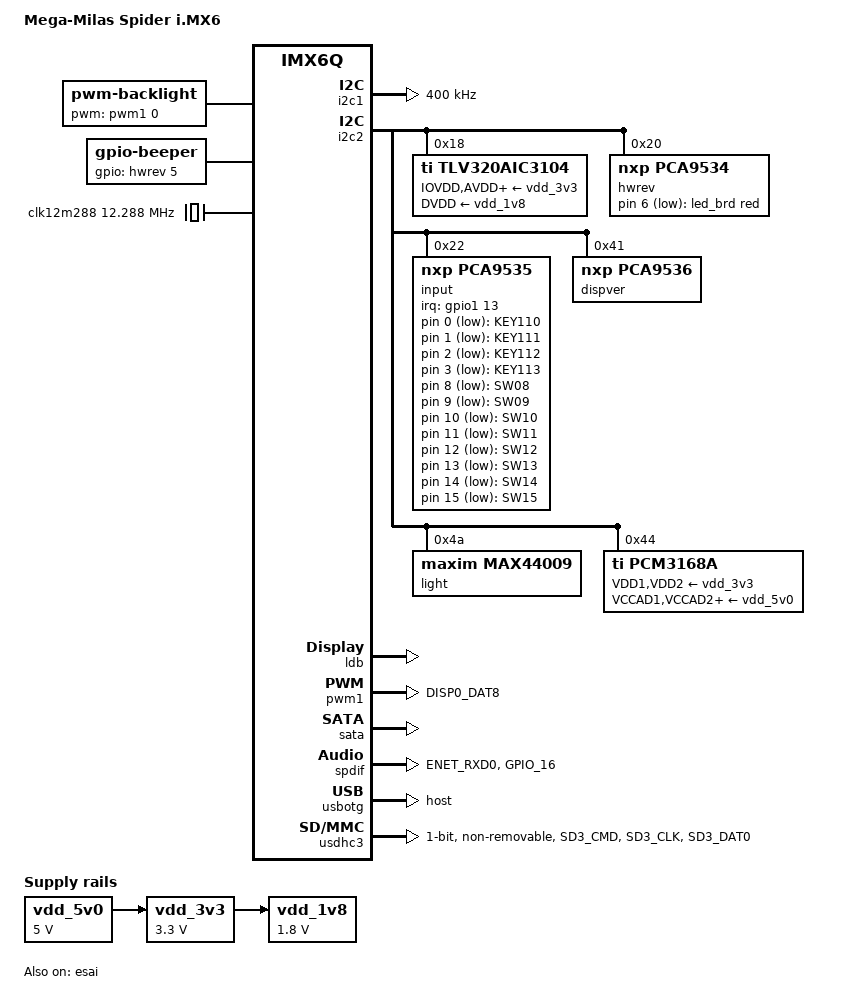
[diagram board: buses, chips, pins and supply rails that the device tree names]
#include <dt-bindings/leds/common.h>

/ {
	model = "Mega-Milas Spider i.MX6";
	compatible = "milas,spider-imx6",
		     "phytec,imx6x-pbab01", "phytec,imx6q-pfla02", "fsl,imx6q";

	chosen {
		/delete-node/ environment-nand;
		/delete-node/ environment-sd1;
		/delete-node/ environment-sd2;
		/delete-node/ environment-sd4;

		environment-spinor {
			compatible = "barebox,environment";
			device-path = &som_flash, "partname:env";
			status = "disabled";
		};

		environment-sd3 {
			compatible = "barebox,environment";
			device-path = &som_flash, "partname:env";
			status = "disabled";
		};
	};

	backlight {
		compatible = "pwm-backlight";
		pwms = <&pwm1 0 100000>;
		brightness-levels = <0 255>;
		num-interpolated-steps = <16>;
		default-brightness-level = <0>;
	};

	beeper {
		compatible = "gpio-beeper";
		gpios = <&hwrev 5 GPIO_ACTIVE_HIGH>;
	};

	gpiokeys {
		compatible = "gpio-keys";

		button@0 {
			label = "KEY110";
			linux,code = <0x0110>;
			linux,input-type = <EV_KEY>;
			gpios = <&input 0 GPIO_ACTIVE_LOW>;
		};

		button@1 {
			label = "KEY111";
			linux,code = <0x0111>;
			linux,input-type = <EV_KEY>;
			gpios = <&input 1 GPIO_ACTIVE_LOW>;
		};

		button@2 {
			label = "KEY112";
			linux,code = <0x0112>;
			linux,input-type = <EV_KEY>;
			gpios = <&input 2 GPIO_ACTIVE_LOW>;
		};

		button@3 {
			label = "KEY113";
			linux,code = <0x0113>;
			linux,input-type = <EV_KEY>;
			gpios = <&input 3 GPIO_ACTIVE_LOW>;
		};

		button@8 {
			label = "SW08";
			linux,code = <SW_VIDEOOUT_INSERT>;
			linux,input-type = <EV_SW>;
			gpios = <&input 8 GPIO_ACTIVE_LOW>;
		};

		button@9 {
			label = "SW09";
			linux,code = <SW_CAMERA_LENS_COVER>;
			linux,input-type = <EV_SW>;
			gpios = <&input 9 GPIO_ACTIVE_LOW>;
		};

		button@10 {
			label = "SW10";
			linux,code = <SW_KEYPAD_SLIDE>;
			linux,input-type = <EV_SW>;
			gpios = <&input 10 GPIO_ACTIVE_LOW>;
		};

		button@11 {
			label = "SW11";
			linux,code = <SW_FRONT_PROXIMITY>;
			linux,input-type = <EV_SW>;
			gpios = <&input 11 GPIO_ACTIVE_LOW>;
		};

		button@12 {
			label = "SW12";
			linux,code = <SW_ROTATE_LOCK>;
			linux,input-type = <EV_SW>;
			gpios = <&input 12 GPIO_ACTIVE_LOW>;
		};

		button@13 {
			label = "SW13";
			linux,code = <SW_LINEIN_INSERT>;
			linux,input-type = <EV_SW>;
			gpios = <&input 13 GPIO_ACTIVE_LOW>;
		};

		button@14 {
			label = "SW14";
			linux,code = <SW_MUTE_DEVICE>;
			linux,input-type = <EV_SW>;
			gpios = <&input 14 GPIO_ACTIVE_LOW>;
		};

		button@15 {
			label = "SW15";
			linux,code = <SW_PEN_INSERTED>;
			linux,input-type = <EV_SW>;
			gpios = <&input 15 GPIO_ACTIVE_LOW>;
		};
	};

	clk12m288: clk12m288 {
		compatible = "fixed-clock";
		clock-frequency = <12288000>;
		
		#clock-cells = <0>;
	};

	/delete-node/ oscillator;

	leds {
		led_brd {
			gpios = <&hwrev 6 GPIO_ACTIVE_LOW>;
			function = LED_FUNCTION_MTD;
			color = <LED_COLOR_ID_RED>;
			linux,default-trigger = LED_FUNCTION_MTD;
			default-state = "off";
		};
	};

	regulators {
		/delete-node/ regulator@2;
		/delete-node/ regulator@3;

		vdd_5v0: reg@5 {
			compatible = "regulator-fixed";
			reg = <5>;
			regulator-name = "vdd-5v0";
			regulator-min-microvolt = <5000000>;
			regulator-max-microvolt = <5000000>;
			regulator-always-on;
			regulator-boot-on;
		};

		vdd_3v3: reg@6 {
			compatible = "regulator-fixed";
			reg = <6>;
			regulator-name = "vdd-3v3";
			regulator-min-microvolt = <3300000>;
			regulator-max-microvolt = <3300000>;
			regulator-always-on;
			regulator-boot-on;
			vin-supply = <&vdd_5v0>;
		};

		vdd_1v8: reg@7 {
			compatible = "regulator-fixed";
			reg = <7>;
			regulator-name = "vdd-1v8";
			regulator-min-microvolt = <1800000>;
			regulator-max-microvolt = <1800000>;
			regulator-always-on;
			regulator-boot-on;
			vin-supply = <&vdd_3v3>;
		};
	};

	/delete-node/ sound;

	sound-pcm0 {
		compatible = "simple-audio-card";
		simple-audio-card,name = "SSI2AIC3104";
		simple-audio-card,format = "i2s";
		simple-audio-card,bitclock-master = <&sound0_master>;
		simple-audio-card,frame-master = <&sound0_master>;
		simple-audio-card,widgets =
			"Microphone", "Mic Jack",
			"Headphone", "Headphone Jack";
		simple-audio-card,routing =
			"Headphone Jack", "HPLOUT",
			"Headphone Jack", "HPROUT",
			"MIC2L", "Mic Jack",
			"Mic Jack", "Mic Bias";

		simple-audio-card,cpu {
			sound-dai = <&ssi2>;
		};

		sound0_master: simple-audio-card,codec {
			sound-dai = <&tlv320aic3104>;
		};
	};

//gst-launch-1.0 alsasrc ! audio/x-raw,channels=4,fmt=S24LE ! audioconvert ! opusenc ! queue ! rtpgstpay config-interval=1 ! udpsink host=239.0.0.2 port=4380

//gst-launch-1.0 alsasrc device=hw:1 ! audio/x-raw,channels=4,fmt=S24LE ! audioconvert ! opusenc ! queue ! rtpgstpay config-interval=1 ! udpsink host=239.0.0.2 port=4380

	sound-pcm1 {
		compatible = "simple-audio-card";
		simple-audio-card,name = "ESAIPCM3168A";
		simple-audio-card,format = "left_j";
		simple-audio-card,bitclock-master = <&sound1_master>;
		simple-audio-card,frame-master = <&sound1_master>;
		simple-audio-card,widgets =
			"Microphone", "Channel1in",
			"Microphone", "Channel2in",
			"Microphone", "Channel3in",
			"Microphone", "Channel4in";
		simple-audio-card,routing =
			"Channel1in", "AIN1L",
			"Channel2in", "AIN1R",
			"Channel3in", "AIN2L",
			"Channel4in", "AIN2R";

		simple-audio-card,cpu {
			sound-dai = <&esai>;
			dai-tdm-slot-num = <8>;
			dai-tdm-slot-width = <32>;
		};

		sound1_master: simple-audio-card,codec {
			sound-dai = <&pcm3168a 1>;
			dai-tdm-slot-num = <8>;
			dai-tdm-slot-width = <32>;
		};
	};

	sound-spdif {
		compatible = "fsl,imx-audio-spdif";
		model = "IMX6SPDIF";
		spdif-controller = <&spdif>;
		spdif-in;
	};
};

&asrc {
	status = "disabled";
};

&can1 {
	status = "disabled";
};

&clks {
	assigned-clocks = <&clks IMX6QDL_CLK_LDB_DI0_SEL>,
			  <&clks IMX6QDL_CLK_LDB_DI1_SEL>;
	assigned-clock-parents = <&clks IMX6QDL_CLK_PLL5_VIDEO_DIV>,
				 <&clks IMX6QDL_CLK_PLL5_VIDEO_DIV>;
};

&esai {
	pinctrl-names = "default";
	pinctrl-0 = <&pinctrl_esai>;
//	assigned-clocks = <&clks IMX6QDL_CLK_PLL4_AUDIO>,
//			  <&clks IMX6QDL_CLK_ESAI_SEL>,
//			  <&clks IMX6QDL_CLK_ESAI_EXTAL>;
//	assigned-clock-parents = <0>, <&clks IMX6QDL_CLK_PLL4_AUDIO_DIV>, <0>;
//	assigned-clock-rates = <786432000>, <0>, <24576000>;
	fsl,esai-synchronous;
	status = "okay";
};

&gpmi {
	/delete-node/ partitions;

	partitions {
		compatible = "fixed-partitions";
		#address-cells = <1>;
		#size-cells = <1>;

		partition@0 {
			label = "system";
			reg = <0 0>;
		};
	};
};

&hdmi {
	status = "disabled";
};

&i2c1 {
	clock-frequency = <400000>;
};

&i2c2 {
	/delete-node/ tlv320@18;
	/delete-node/ stmpe@41;
	/delete-node/ rtc@51;
	/delete-node/ adc@64;

	tlv320aic3104: codec@18 {
		compatible = "ti,tlv320aic3104";
		reg = <0x18>;
		clocks = <&clk12m288>;
		ai3x-micbias-vg = <1>;
		ai3x-ocmv = <1>;
		IOVDD-supply = <&vdd_3v3>;
		DVDD-supply = <&vdd_1v8>;
		AVDD-supply = <&vdd_3v3>;
		DRVDD-supply = <&vdd_3v3>;

		#sound-dai-cells = <0>;
	};

	hwrev: gpio@20 {
		compatible = "nxp,pca9534";
		reg = <0x20>;
		gpio-controller;
		
		#gpio-cells = <2>;
	};

	input: gpio@22 {
		pinctrl-names = "default";
		pinctrl-0 = <&pinctrl_input>;
		compatible = "nxp,pca9535";
		reg = <0x22>;
		gpio-controller;
		interrupt-parent = <&gpio1>;
		interrupts = <13 IRQ_TYPE_EDGE_BOTH>;
		interrupt-controller;

		#gpio-cells = <2>;
		#interrupt-cells = <2>;
	};

	dispver: gpio@41 {
		compatible = "nxp,pca9536";
		reg = <0x41>;
		gpio-controller;
		
		#gpio-cells = <2>;
	};

	light: sensor@4a {
		compatible = "maxim,max44009";
		reg = <0x4a>;
	};

	pcm3168a: codec@44 {
		compatible = "ti,pcm3168a";
		reg = <0x44>;
		clocks = <&clk12m288>;
		clock-names = "scki";
		VDD1-supply = <&vdd_3v3>;
		VDD2-supply = <&vdd_3v3>;
		VCCAD1-supply = <&vdd_5v0>;
		VCCAD2-supply = <&vdd_5v0>;
		VCCDA1-supply = <&vdd_5v0>;
		VCCDA2-supply = <&vdd_5v0>;

		#sound-dai-cells = <1>;
	};
};

&i2c3 {
	status = "disabled";
};

&ipu2 {
	status = "disabled";
};

&ldb {
	/* Fix incorrect LVDS clock due ERR009219 patches */
	assigned-clocks = <&clks IMX6QDL_CLK_PLL5_VIDEO>;
	assigned-clock-parents = <0>;
	assigned-clock-rates = <716800000>;

	status = "okay";

	lvds-channel@0 {
		fsl,data-mapping = "spwg";
		fsl,data-width = <18>;
		status = "okay";

		display-timings {
			native-mode = <&timing0>;

			timing0: G104XVN01_0 {
				clock-frequency = <50000000 65000000 81000000>;
				hactive = <1024>;
				vactive = <768>;
				hback-porch = <320>;
				hfront-porch = <24>;
				hsync-len = <136>;
				vback-porch = <38>;
				vfront-porch = <3>;
				vsync-len = <6>;
				de-active = <1>;
			};

			timing1: PH320240T {
				clock-frequency = <6400000>;
				hactive = <320>;
				vactive = <240>;
				hback-porch = <38>;
				hfront-porch = <20>;
				hsync-len = <30>;
				vback-porch = <15>;
				vfront-porch = <5>;
				vsync-len = <1 3 5>;
				hsync-active = <0>;
				vsync-active = <0>;
				de-active = <1>;
			};
		};
	};
};

&led_green {
	linux,default-trigger = LED_FUNCTION_HEARTBEAT;
	function = LED_FUNCTION_HEARTBEAT;
	color = <LED_COLOR_ID_GREEN>;
	default-state = "off";
	panic-indicator;
};

&led_red {
	linux,default-trigger = "usb-host";
	function = LED_FUNCTION_USB;
	color = <LED_COLOR_ID_RED>;
	default-state = "off";
};

&mipi_csi {
	status = "disabled";
};

&pcie {
	status = "disabled";
};

&pwm1 {
	pinctrl-names = "default";
	pinctrl-0 = <&pinctrl_pwm1>;
	status = "okay";

	#pwm-cells = <2>;
};

&sata {
	status = "okay";
};

&som_flash {
	/delete-node/ partitions;

	partitions {
		compatible = "fixed-partitions";
		#address-cells = <1>;
		#size-cells = <1>;

		partition@0 {
			label = "boot";
			reg = <0x00000 0x80000>;
		};

		partition@80000 {
			label = "env";
			reg = <0x80000 0x40000>;
		};

		partition@c0000 {
			label = "init";
			reg = <0xc0000 0>;
		};
	};
};

&spdif {
	pinctrl-names = "default";
	pinctrl-0 = <&pinctrl_spdif>;
	status = "okay";
};

&uart1 {
	status = "disabled";
};

&uart3 {
	status = "disabled";
};

&usbh1 {
	over-current-active-low;
};

&usbotg {
	dr_mode = "host";
	over-current-active-low;

	/delete-property/ disable-over-current;
};

&usdhc2 {
	status = "disabled";
};

&usdhc3 {
	pinctrl-names = "default";
	pinctrl-0 = <&pinctrl_usdhc3>;
	bus-width = <1>;
	non-removable;

	/delete-property/ cd-gpios;
	/delete-property/ wp-gpios;

	/delete-node/ partition@0;
	/delete-node/ partition@e0000;
};

&vdd_sd0_reg {
	regulator-always-on;
};

&vdd_sd1_reg {
	regulator-always-on;
};

&wdog1 {
	timeout-sec = <10>;
};

&iomuxc {
	imx6q-phytec-pfla02 {
		pinctrl_esai: esaigrp {
			fsl,pins = <
				MX6QDL_PAD_GPIO_2__ESAI_TX_FS		0x130b0
				MX6QDL_PAD_GPIO_6__ESAI_TX_CLK		0x130b0
				MX6QDL_PAD_GPIO_8__ESAI_TX5_RX0		0x130b0
				MX6QDL_PAD_GPIO_17__ESAI_TX0		0x110b0
			>;
		};

		pinctrl_input: inputgrp {
			fsl,pins = <
				MX6QDL_PAD_SD2_DAT2__GPIO1_IO13		0x4000e0b0		/* KB_IRQ */
			>;
		};

		pinctrl_pwm1: pwm1grp {
			fsl,pins = <
				MX6QDL_PAD_DISP0_DAT8__PWM1_OUT		0x1b0b1
			>;
		};

		pinctrl_spdif: spdifgrp {
			fsl,pins = <
				MX6QDL_PAD_ENET_RXD0__SPDIF_OUT		0x1b0b0
				MX6QDL_PAD_GPIO_16__SPDIF_IN		0x1b0b0
			>;
		};

		pinctrl_usbh1: usbh1grp {
			fsl,pins = <
				MX6QDL_PAD_GPIO_0__GPIO1_IO00		0x1b0b0
				MX6QDL_PAD_GPIO_3__USB_H1_OC		0x4001b0b0
			>;
		};

		pinctrl_usbotg: usbotggrp {
			fsl,pins = <
				MX6QDL_PAD_KEY_ROW4__GPIO4_IO15		0x130b0
				MX6QDL_PAD_GPIO_1__USB_OTG_ID		0x40017059
				MX6QDL_PAD_KEY_COL4__USB_OTG_OC		0x4001b0b0
			>;
		};

		pinctrl_usdhc3: usdhc3grp {
			fsl,pins = <
				MX6QDL_PAD_SD3_CMD__SD3_CMD		0x17059
				MX6QDL_PAD_SD3_CLK__SD3_CLK		0x10059
				MX6QDL_PAD_SD3_DAT0__SD3_DATA0		0x17059
			>;
		};
	};
};
